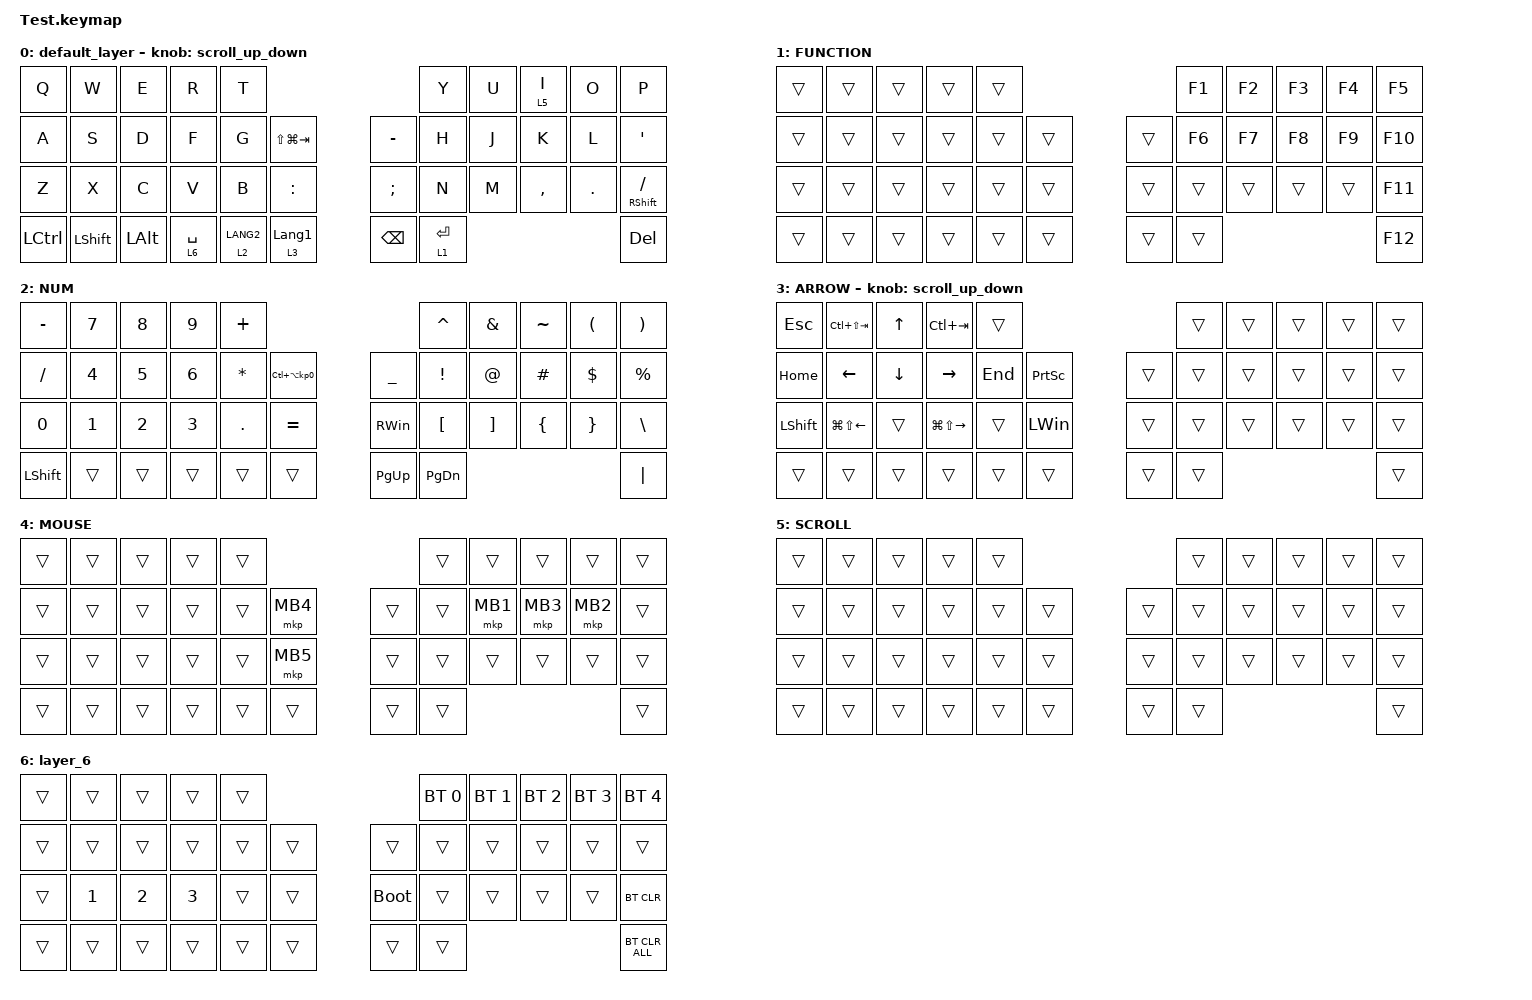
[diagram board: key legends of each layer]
#include <behaviors.dtsi>
#include <dt-bindings/zmk/bt.h>
#include <dt-bindings/zmk/keys.h>
#include <dt-bindings/zmk/mouse.h>

#define MOUSE 4
#define SCROLL 5
#define NUM 6
#define ZMK_MOUSE_DEFAULT_SCRL_VAL 70

&mt {
    flavor = "balanced";
    quick-tap-ms = <0>;
};

/ {
    combos {
        compatible = "zmk,combos";

        tab {
            bindings = <&kp TAB>;
            key-positions = <11 12>;
        };

        shift_tab {
            bindings = <&kp LS(TAB)>;
            key-positions = <12 13>;
        };

        muhennkann {
            bindings = <&to_layer_0 INT_MUHENKAN>;
            key-positions = <11 10>;
        };

        double_quotation {
            bindings = <&kp DOUBLE_QUOTES>;
            key-positions = <20 21>;
        };

        eq {
            bindings = <&kp EQUAL>;
            key-positions = <24 25>;
        };

        large_Z {
            bindings = <&kp LS(Z)>;
            key-positions = <23 22>;
        };

        shiftMB3 {
            bindings = <&shiftMB3>;
            key-positions = <18 19>;
        };
    };

    macros {
        to_layer_0: to_layer_0 {
            compatible = "zmk,behavior-macro-one-param";
            #binding-cells = <1>;
            bindings = <&to 0 &macro_param_1to1 &kp MACRO_PLACEHOLDER>;
            label = "TO_LAYER_0";
        };

        shiftMB3: shiftMB3 {
            compatible = "zmk,behavior-macro";
            #binding-cells = <0>;
            bindings =
                <&macro_press>,
                <&kp LEFT_SHIFT &mkp MB3>,
                <&macro_pause_for_release>,
                <&macro_release>,
                <&kp LEFT_SHIFT &mkp MB3>;

            label = "SHIFTMB3";
        };
    };

    behaviors {
        lt_to_layer_0: lt_to_layer_0 {
            compatible = "zmk,behavior-hold-tap";
            label = "LAYER_TAP_TO_0";
            bindings = <&mo>, <&to_layer_0>;

            #binding-cells = <2>;
            tapping-term-ms = <200>;
        };

        scroll_up_down: behavior_sensor_rotate_mouse_wheel_up_down {
            compatible = "zmk,behavior-sensor-rotate";
            label = "scroll_up_down";
            #sensor-binding-cells = <0>;
            bindings = <&msc SCRL_UP>, <&msc SCRL_DOWN>;

            tap-ms = <20>;
        };
    };

    keymap {
        compatible = "zmk,keymap";

        default_layer {
            bindings = <
&kp Q      &kp W       &kp E         &kp R                   &kp T                                                      &kp Y        &kp U  &lt 5 I    &kp O    &kp P
&kp A      &kp S       &kp D         &kp F                   &kp G        &kp LS(LG(TAB))                &kp MINUS      &kp H        &kp J  &kp K      &kp L    &kp SQT
&kp Z      &kp X       &kp C         &kp V                   &kp B        &kp COLON                      &kp SEMICOLON  &kp N        &kp M  &kp COMMA  &kp DOT  &mt RIGHT_SHIFT SLASH
&kp LCTRL  &kp LSHIFT  &kp LEFT_ALT  &lt_to_layer_0 6 SPACE  &lt 2 LANG2  &lt_to_layer_0 3 LANGUAGE_1    &kp BACKSPACE  &lt 1 ENTER                             &kp DEL
            >;

            sensor-bindings = <&scroll_up_down>;
        };

        FUNCTION {
            bindings = <
&trans  &trans  &trans  &trans  &trans                    &kp F1  &kp F2  &kp F3  &kp F4  &kp F5
&trans  &trans  &trans  &trans  &trans  &trans    &trans  &kp F6  &kp F7  &kp F8  &kp F9  &kp F10
&trans  &trans  &trans  &trans  &trans  &trans    &trans  &trans  &trans  &trans  &trans  &kp F11
&trans  &trans  &trans  &trans  &trans  &trans    &trans  &trans                          &kp F12
            >;
        };

        NUM {
            bindings = <
&kp MINUS       &kp N7        &kp N8        &kp N9        &kp PLUS                                                 &kp CARET         &kp AMPERSAND      &kp TILDE       &kp LEFT_PARENTHESIS  &kp RIGHT_PARENTHESIS
&kp SLASH       &kp NUMBER_4  &kp N5        &kp NUMBER_6  &kp ASTERISK  &kp LC(LA(KP_NUMBER_0))    &kp UNDERSCORE  &kp EXCLAMATION   &kp AT_SIGN        &kp HASH        &kp DOLLAR            &kp PERCENT
&kp N0          &kp NUMBER_1  &kp NUMBER_2  &kp NUMBER_3  &kp PERIOD    &kp EQUAL                  &kp RWIN        &kp LEFT_BRACKET  &kp RIGHT_BRACKET  &kp LEFT_BRACE  &kp RIGHT_BRACE       &kp BACKSLASH
&kp LEFT_SHIFT  &trans        &trans        &trans        &trans        &trans                     &kp PAGE_UP     &kp PAGE_DOWN                                                              &kp PIPE
            >;
        };

        ARROW {
            bindings = <
&kp ESCAPE      &kp LC(LS(TAB))         &kp UP_ARROW    &kp LC(TAB)              &trans                              &trans  &trans  &trans  &trans  &trans
&kp HOME        &kp LEFT_ARROW          &kp DOWN_ARROW  &kp RIGHT_ARROW          &kp END  &kp PRINTSCREEN    &trans  &trans  &trans  &trans  &trans  &trans
&kp LEFT_SHIFT  &kp LG(LS(LEFT_ARROW))  &trans          &kp LG(LS(RIGHT_ARROW))  &trans   &kp LEFT_WIN       &trans  &trans  &trans  &trans  &trans  &trans
&trans          &trans                  &trans          &trans                   &trans   &trans             &trans  &trans                          &trans
            >;

            sensor-bindings = <&scroll_up_down>;
        };

        MOUSE {
            bindings = <
&trans  &trans  &trans  &trans  &trans                      &trans  &trans    &trans    &trans    &trans
&trans  &trans  &trans  &trans  &trans  &mkp MB4    &trans  &trans  &mkp MB1  &mkp MB3  &mkp MB2  &trans
&trans  &trans  &trans  &trans  &trans  &mkp MB5    &trans  &trans  &trans    &trans    &trans    &trans
&trans  &trans  &trans  &trans  &trans  &trans      &trans  &trans                                &trans
            >;
        };

        SCROLL {
            bindings = <
&trans  &trans  &trans  &trans  &trans                    &trans  &trans  &trans  &trans  &trans
&trans  &trans  &trans  &trans  &trans  &trans    &trans  &trans  &trans  &trans  &trans  &trans
&trans  &trans  &trans  &trans  &trans  &trans    &trans  &trans  &trans  &trans  &trans  &trans
&trans  &trans  &trans  &trans  &trans  &trans    &trans  &trans                          &trans
            >;
        };

        layer_6 {
            bindings = <
&trans  &trans        &trans        &trans        &trans                         &bt BT_SEL 0  &bt BT_SEL 1  &bt BT_SEL 2  &bt BT_SEL 3  &bt BT_SEL 4
&trans  &trans        &trans        &trans        &trans  &trans    &trans       &trans        &trans        &trans        &trans        &trans
&trans  &kp NUMBER_1  &kp NUMBER_2  &kp NUMBER_3  &trans  &trans    &bootloader  &trans        &trans        &trans        &trans        &bt BT_CLR
&trans  &trans        &trans        &trans        &trans  &trans    &trans       &trans                                                  &bt BT_CLR_ALL
            >;
        };
    };
};
